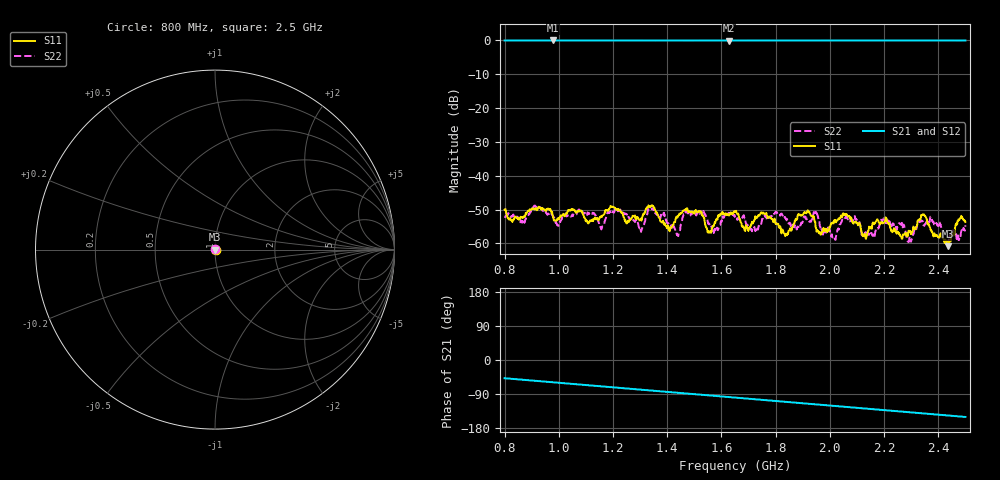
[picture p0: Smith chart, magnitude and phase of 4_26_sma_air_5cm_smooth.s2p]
!Keysight Technologies N9950B: A.12.38
!Date: Wednesday, 26 April 2023 18:50:18
!Timezone: (UTC-06:00) Central Time (US & Canada)
!Model: N9950B
!Serial: MY61131330
!GPS Latitude:
!GPS Longitude:
!GPS TimeStamp: 0001-01-01 00:00:00Z
!GPS Seconds Since Last Read: 0
!CHECKSUM:0372557894
!Correction: S11(ON U)S21(ON U)S12(ON U)S22(ON U)
!S2P File: Measurements:S11,S21,S12,S22:
# Hz S DB R 50
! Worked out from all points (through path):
!   1001 points, 800 MHz to 2.5 GHz, reference 50 ohm
!   highest |S21| = 0.00 dB at 976.8 MHz (marker M1); lowest = 0.0 dB at 1.628 GHz (marker M2)
!   group delay of S21, straight-line fit = 167 ps
!   lowest |S11| = -60.8 dB at 2.435 GHz (marker M3), VSWR 1.00, Z = 50 - j0.0884 ohm
!   |S11| at or under -10 dB: start of sweep to end of sweep
!   |S22| runs from -60.2 to -48.8 dB; largest |S21 - S12| = 0.0013
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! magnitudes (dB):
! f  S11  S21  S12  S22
! 800 MHz  -50.1  0.0  0.0  -52.1
! 976.8 MHz  -51.4  0.0  0.0  -51.8
! 1.084 GHz  -50.4  0.0  0.0  -50.4
! 1.159 GHz  -52.2  0.0  0.0  -55.3
! 1.215 GHz  -50.0  0.0  0.0  -50.1
! 1.368 GHz  -52.2  0.0  0.0  -52.4
! 1.439 GHz  -52.0  0.0  0.0  -57.7
! 1.47 GHz  -50.2  0.0  0.0  -50.8
! 1.555 GHz  -56.8  0.0  0.0  -54.2
! 1.628 GHz  -51.8  0.0  0.0  -51.0
! 1.65 GHz  -50.5  0.0  0.0  -52.2
! 1.837 GHz  -57.1  0.0  0.0  -52.7
! 1.934 GHz  -51.9  0.0  0.0  -53.0
! 1.959 GHz  -57.0  0.0  0.0  -53.5
! 2.014 GHz  -54.1  0.0  0.0  -58.1
! 2.055 GHz  -51.6  0.0  0.0  -52.6
! 2.128 GHz  -57.2  0.0  0.0  -57.1
! 2.218 GHz  -53.9  0.0  0.0  -53.7
! 2.294 GHz  -56.5  0.0  0.0  -58.0
! 2.345 GHz  -51.5  0.0  0.0  -54.6
! 2.435 GHz  -60.8  0.0  0.0  -59.5
! 2.5 GHz  -53.7  0.0  0.0  -54.6
